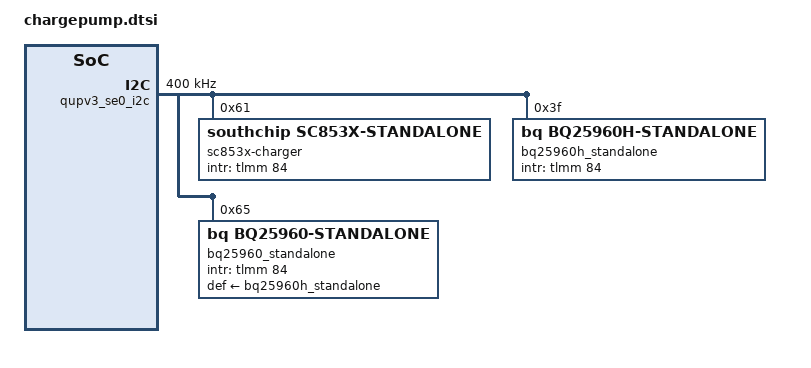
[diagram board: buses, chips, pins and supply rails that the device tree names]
&tlmm {
	/* GPIO_84 : CHG_PUMP_INT_N */
	chargepump_int_default: chargepump_int_default {
		mux {
			pins = "gpio84";
			function = "gpio";
		};
		config {
			pins = "gpio84";
			drive-strength = <2>;   /* 2 mA */
			bias-pull-up;           /* PULL DOWN */
			input-enable;
		};
	};
};

&qupv3_se0_i2c {
    status = "ok";
    qcom,bus-recovery;
    clock-frequency = <400000>;

    #address-cells = <1>;
    #size-cells = <0>;
    sc8551: sc8551-charger@65{
		compatible = "sc,sc8551-standalone";
		reg = <0x66>;
		irq-gpios = <&tlmm 84 0>;
		/*
		sc,sc8551,bat-ovp-disable = <0>;
		sc,sc8551,bat-ocp_disable = <0>;
		sc,sc8551,bat-ovp-alarm-disable = <0>;
		sc,sc8551,bus-ocp-disable = <0>;
		sc,sc8551,bus-ovp-alarm-disable = <0>;
		sc,sc8551,bus-ocp-alarm-disable = <0>;
		sc,sc8551,bat-ucp-alarm-disable = <0>;
		*/
		sc,sc8551,bat-therm-disable = <0>;
		sc,sc8551,bus-therm-disable = <0>;
	 	sc,sc8551,bat-ovp-threshold = <4525>;
		sc,sc8551,bat-ovp-alarm-threshold = <4400>;
		sc,sc8551,bat-ocp-threshold = <8000>;
		sc,sc8551,bat-ocp-alarm-threshold = <7500>;
	    sc,sc8551,bus-ovp-threshold = <12000>;
		sc,sc8551,bus-ovp-alarm-threshold = <11000>;
		sc,sc8551,bus-ocp-threshold = <3750>;
		sc,sc8551,bus-ocp-alarm-threshold = <3500>;
	    sc,sc8551,bat-ucp-alarm-threshold = <2000>;
	    sc,sc8551,bat-therm-threshold = <0x15>;
		sc,sc8551,bus-therm-threshold = <0x15>;
		sc,sc8551,die-therm-threshold = <125>;
		sc,sc8551,ac-ovp-threshold = <12>;
		sc,sc8551,sense-resistor-mohm = <5>;
        status = "disabled";
	};

    sc853x-charger@61{
        compatible = "southchip,sc853x-standalone";
        #io-channel-cells = <1>;
        reg = <0x61>;
        status = "okay";
        sc853x,intr_gpio = <&tlmm 84 0>;
        charger_name = "primary_dvchg";
        charger_name_v4_19 = "primary_dvchg";

        sc,sc853x,vbat-ovp-dis = <0>;
        sc,sc853x,vbat-ovp = <90>; /*3840 + val * 10*/
        sc,sc853x,ibat-ocp-dis = <1>;
        sc,sc853x,ibat-ocp = <81>; /*val * 100*/
        sc,sc853x,vbus-ovp-dis = <0>;
        sc,sc853x,vbus-ovp = <3>; /*9250 + val * 250*/
        sc,sc853x,vac-ovp-dis = <0>;
        sc,sc853x,vac-ovp = <4>; /*0:6.5V 1:11V 2:12V 3:13V 4:14V 5~7:15V*/
        sc,sc853x,ibus-ocp-dis = <0>;
        sc,sc853x,ibus-ocp = <70>; /*val * 50*/
        sc,sc853x,pmid2out-ovp-dis = <0>;
        sc,sc853x,pmid2out-ovp = <0>; /*400 + val * 100*/
        sc,sc853x,pmid2out-uvp-dis = <0>;
        sc,sc853x,pmid2out-uvp = <1>; /*100 + val * 50*/
        sc,sc853x,ibatreg = <0>; /*200 + val * 100*/
        sc,sc853x,ibusreg = <0>; /*100 + val * 50*/
        sc,sc853x,vbatreg = <0>; /*50 + val * 50*/
        sc,sc853x,tdiereg = <1>; /*0:90°C 1:100°C 2:110°C 3:120°C*/
        sc,sc853x,them-flt = <24>; /*val * 25*/
        sc,sc853x,ibat-sns-res = <1>; /*0:2hmo 1:5hmo*/
        sc,sc853x,pmid-pd-en = <0>;
        sc,sc853x,vbus-pd-en = <0>;
        sc,sc853x,work-mode = <0>; /*0: 2:1charge   1: 1:1charge
                                     2: 1:2converte 3: 1:1converte*/
        sc,sc853x,ss-timeout = <7>; /*0:disable 1:10ms 2:20ms 3:400ms
                                    4:80ms 5:320ms 6:1.28s 7:10.24s*/
        sc,sc853x,wd-timeout-dis = <1>;
        sc,sc853x,wd-timeout = <0>; /*0:0.5s 1:1s 2:5s 3:30s*/
        sc,sc853x,vout-ovp-dis = <0>;
        sc,sc853x,vout-ovp = <3>; /*4700 + val * 100*/
        sc,sc853x,fsw-freq = <7>; /*500 + val * 100*/
        sc,sc853x,pin-diag-fall-dis = <0>;
        sc,sc853x,them-flt-dis = <1>;
        sc,sc853x,tshut-dis = <1>;
        sc,sc853x,vbus-in-range-dis = <0>;
        sc,sc853x,ibus-ucp-dis = <0>;
        sc,sc853x,ibat-reg-dis = <0>;
        sc,sc853x,ibus-reg-dis = <0>;
        sc,sc853x,vbat-reg-dis = <0>;
        sc,sc853x,tdie-reg-dis = <1>;
        sc,sc853x,ibat-ocp-dg = <0>; /*0:160us 1:80us 2:320us 3:5ms*/
        sc,sc853x,ibus-ucp-fall-dg = <1>; /*0:8us 1:5ms 2:40ms 3:160ms*/
        sc,sc853x,ibus-ocp-dg = <0>; /*0:160us 1:80us 2:320us 3:5ms*/
        sc,sc853x,vbat-ovp-dg = <0>; /*0:8us 1:160us 2:320us 3:5ms*/
    };

    bq25960h_standalone: bq25960h@3f {
        compatible = "bq,bq25960h-standalone";
        #io-channel-cells = <1>;
        status = "okay";
        reg = <0x3f>;
        bq25960h,intr_gpio = <&tlmm 84 0>;
        charger_name = "primary_dvchg1";
    };


    bq25960_standalone: bq25960@65 {
        compatible = "bq,bq25960-standalone";
        #io-channel-cells = <1>;
        reg = <0x65>;
        status = "okay";
        bq25960,intr_gpio = <&tlmm 84 0>;
        charger_name = "primary_dvchg";
        def-supply = <&bq25960h_standalone>;

        bq,bq25960,vbat-ovp-dis = <0>;
        bq,bq25960,vbat-ovp = <127>; /*3500 + val * 10*/
        bq,bq25960,vbat-ovp-alm-dis = <1>;
        bq,bq25960,vbat-ovp-alm = <122>; /*3500 + val * 10*/
        bq,bq25960,ibat-ocp-dis = <0>;
        bq,bq25960,ibat-ocp  = <61>; /*2000 + val * 100*/
        bq,bq25960,ibat-ocp-alm-dis = <1>;
        bq,bq25960,ibat-ocp-alm = <61>; /*2000 + val * 100*/
        bq,bq25960,ibus-ucp-dis = <0>;
        bq,bq25960,ibus-ucp = <0>;
        bq,bq25960,chg-config-2 = <0>;
        bq,bq25960,vbus-pd-en = <0>;
        bq,bq25960,vbus-ovp = <100>; /*7000 + val * 50*/
        bq,bq25960,vbus-ovp-alm-dis = <0>;
        bq,bq25960,vbus-ovp-alm = <100>; /*7000 + val * 50*/
        bq,bq25960,ibus-ocp = <13>; /*1000 + val * 250*/
        bq,bq25960,tsbus-flt-dis = <1>;
        bq,bq25960,tsbat-flt-dis = <1>;
        bq,bq25960,tdie-alm = <200>; /*25 + val * 0.5*/
        bq,bq25960,tsbus-flt = <21>;
        bq,bq25960,tsbat-flt = <21>;
        bq,bq25960,vac1-ovp = <3>; /*0:6.5V 1:10.5V 2:12V 3:14V 4:16V 5~7:18V*/
        bq,bq25960,vac2-ovp = <3>; /*0:6.5V 1:10.5V 2:12V 3:14V 4:16V 5~7:18V*/
        bq,bq25960,vac1-pd-en = <0>;
        bq,bq25960,vac2-pd-en = <0>;
        bq,bq25960,fsw-set = <4>; /*0:187.5KHz 1:250KHz 2:300KHz
                                    3:375KHz 4:500KHz 5:750KHz */
        bq,bq25960,wd-timeout = <0>; /*0:0.5s 1:1s 2:5s 3:30s*/
        bq,bq25960,wd-timeout-dis = <1>;
        bq,bq25960,ibat-sns-r = <0>; /*0:2mho 1:5mho*/
        bq,bq25960,ss-timeout = <5>; /*0:6.25ms 1:12.5ms 2:25ms 3:50ms
                                        4:100ms 5:400ms 6:1.5s 7:10s*/
        bq,bq25960,ibus-ucp-fall-dg = <1>; /*0:0.01ms, 1:5ms, 2:50ms, 3:150ms*/
        bq,bq25960,vout-ovp-dis = <0>;
        bq,bq25960,ms = <0>;
        bq,bq25960,vout-ovp = <3>; /*4700 + val * 100*/
    };
};
